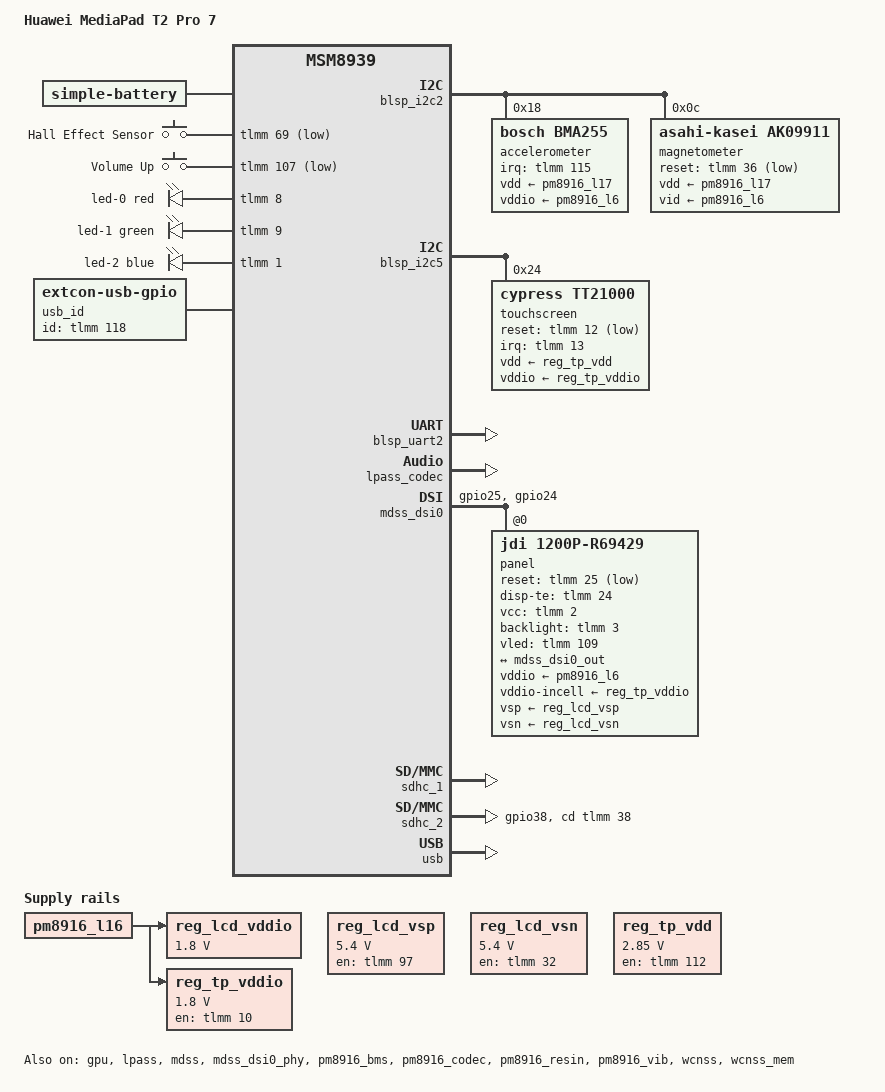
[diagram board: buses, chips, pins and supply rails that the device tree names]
// SPDX-License-Identifier: GPL-2.0-only

/dts-v1/;

#include "msm8939-pm8916.dtsi"

#include <dt-bindings/gpio/gpio.h>
#include <dt-bindings/input/input.h>
#include <dt-bindings/interrupt-controller/irq.h>
#include <dt-bindings/leds/common.h>
#include <dt-bindings/pinctrl/qcom,pmic-gpio.h>
#include <dt-bindings/sound/apq8016-lpass.h>
#include <dt-bindings/pinctrl/qcom,pmic-mpp.h>

/ {
	model = "Huawei MediaPad T2 Pro 7";
	compatible = "huawei,pele", "qcom,msm8939";
	chassis-type = "tablet";
	//qcom,msm-id = <239 0x30000 >;
	 /* qcom,board-id =	<8113 0> , <8113 4>;//701l
                  <8002 0> , <8002 4>, //701w
                    <8129 0> , <8129 4>, //702l
                    <8066 0> , <8066 4>, //703lt
                    <8096 0> , <8096 4>; //703l*/

	aliases {
		mmc0 = &sdhc_1; /* eMMC */
		mmc1 = &sdhc_2; /* SD card */
		serial0 = &blsp_uart2;
	};

	chosen {
		stdout-path = "serial0:115200n8";
	};

	reserved-memory {
		cont_splash_mem: framebuffer@83000000 {
			compatible = "removed-dma-pool";
			reg = <0x0 0x83000000 0x0 0x2000000>;
			no-map;
		};

		reserved@85000000 {
			reg = <0x0 0x85000000 0x0 0x1000000>;
			no-map;
		};

		reserved@84a00000 {
			reg = <0x0 0x84a00000 0x0 0x1600000>;
			no-map;
		};

		tz-hwlog@8c700000 {
			reg = <0x0 0x8c700000 0x0 0x400000>;
			no-map;
		};

		ramoops@8cb00000 {
			compatible = "ramoops";
			reg = <0x0 0x8cb00000 0x0 0x200000>;

			record-size = <0x10000>;
			console-size = <0x100000>;
			ftrace-size = <0>;
		};
	};

	battery: battery {
		compatible = "simple-battery";
		device-chemistry = "lithium-ion-polymer";
		voltage-min-design-microvolt = <3300000>;
		voltage-max-design-microvolt = <4350000>;
		energy-full-design-microwatt-hours = <16074000>;
		charge-full-design-microamp-hours = <4230000>;

		//precharge-current-microamp = <1300000>;
		//charge-term-current-microamp = <150000>;

		ocv-capacity-celsius = <25>;
		ocv-capacity-table-0 = <4330000 100>, <4265000 95>,
			<4208000 90>, <4153000 85>, <4100000 80>, <4049000 75>,
			<4001000 70>, <3962000 65>, <3919000 60>, <3872000 55>,
			<3839000 50>, <3817000 45>, <3798000 40>, <3783000 35>,
			<3767000 30>, <3747000 25>, <3729000 20>, <3709000 16>,
			<3688000 13>, <3681000 11>, <3680000 10>, <3679000 9>,
			<3677000 8>, <3674000 7>, <3666000 6>, <3641000 5>,
			<3597000 4>, <3537000 3>, <3457000 2>, <3336000 1>,
			<3000000 0>;
	};

	gpio-hall-sensor {
		compatible = "gpio-keys";

		pinctrl-0 = <&gpio_hall_sensor_default>;
		pinctrl-names = "default";

		label = "GPIO Hall Effect Sensor";

		event-hall-sensor {
			label = "Hall Effect Sensor";
			gpios = <&tlmm 69 GPIO_ACTIVE_LOW>;
			linux,input-type = <EV_SW>;
			linux,code = <SW_LID>;
			linux,can-disable;
		};
	};

	gpio-keys {
		compatible = "gpio-keys";

		pinctrl-0 = <&gpio_keys_default>;
		pinctrl-names = "default";

		label = "GPIO Keys";

		button-volume-up {
			label = "Volume Up";
			gpios = <&tlmm 107 GPIO_ACTIVE_LOW>;
			linux,code = <KEY_VOLUMEUP>;
		};
	};

	gpio-leds {
		compatible = "gpio-leds";

		pinctrl-0 = <&gpio_leds_default>;
		pinctrl-names = "default";

		led-0 {
			gpios = <&tlmm 8 GPIO_ACTIVE_HIGH>;
			color = <LED_COLOR_ID_RED>;
			default-state = "off";
			function = LED_FUNCTION_INDICATOR;
			retain-state-suspended;
		};

		led-1 {
			gpios = <&tlmm 9 GPIO_ACTIVE_HIGH>;
			color = <LED_COLOR_ID_GREEN>;
			default-state = "off";
			function = LED_FUNCTION_INDICATOR;
			retain-state-suspended;
		};

		led-2 {
			gpios = <&tlmm 1 GPIO_ACTIVE_HIGH>;
			color = <LED_COLOR_ID_BLUE>;
			default-state = "off";
			function = LED_FUNCTION_INDICATOR;
			retain-state-suspended;
		};
	};


	reg_lcd_vddio: regulator-lcd-vddio {
		compatible = "regulator-fixed";
		regulator-name = "vddio-incell";
		vin-supply = <&pm8916_l16>;
		regulator-min-microvolt = <1800000>;
		regulator-max-microvolt = <1800000>;
		regulator-always-on;
		regulator-boot-on;

		/*gpio = <&tlmm 10 GPIO_ACTIVE_HIGH>;
		enable-active-high;
		//startup-delay-us = <200000>; //delay 200
		pinctrl-names = "default";
		pinctrl-0 = <&tp_vddio_default>;*/
	};

	reg_lcd_vsp: regulator-lcd-vsp {
		compatible = "regulator-fixed";
		regulator-name = "vsp";
		regulator-min-microvolt = <5400000>;
		regulator-max-microvolt = <5400000>;
		regulator-always-on;
		regulator-boot-on; // allows fb console to show up briefly at boot without always-on
		//enable-active-high;

		gpio = <&tlmm 97 GPIO_ACTIVE_HIGH>;
		enable-active-high;
		startup-delay-us = <200000>; //delay 200
		pinctrl-names = "default";
		pinctrl-0 = <&lcd_vsp_default>;
	};

	reg_lcd_vsn: regulator-lcd-vsn {
		compatible = "regulator-fixed";
		regulator-name = "vsn";
		regulator-min-microvolt = <5400000>;
		regulator-max-microvolt = <5400000>;
		regulator-always-on;
		regulator-boot-on; // allows fb console to show up briefly at boot without always-on
		//enable-active-high;

		gpio = <&tlmm 32 GPIO_ACTIVE_HIGH>;
		//startup-delay-us = <200000>; //delay 200
		enable-active-high;
		pinctrl-names = "default";
		pinctrl-0 = <&lcd_vsn_default>;
	};

	/*lcd_pp3300: regulator-pp3300 {
		compatible = "regulator-fixed";
		regulator-name = "vcc_3v3";
		vin-supply = <&pm8916_l16>;
		regulator-min-microvolt = <3300000>;
		regulator-max-microvolt = <3300000>;
		regulator-always-on;
		regulator-boot-on;

		gpio = <&tlmm 97 GPIO_ACTIVE_HIGH>;
		enable-active-high;
		//startup-delay-us = <200000>; //delay 200
		pinctrl-names = "default";
		pinctrl-0 = <&lcd_3v3_default>;
	};*/

	reg_tp_vdd: regulator-tp-vdd {
		compatible = "regulator-fixed";
		regulator-name = "tp_vdd";
		regulator-min-microvolt = <2850000>;
		regulator-max-microvolt = <2850000>;
		regulator-always-on;
		regulator-boot-on; 

		gpio = <&tlmm 112 GPIO_ACTIVE_HIGH>;
		enable-active-high;
		//startup-delay-us = <200000>; //delay 200
		pinctrl-names = "default";
		pinctrl-0 = <&tp_vdd_default>;
	};

	reg_tp_vddio: regulator-tp-vddio {
		compatible = "regulator-fixed";
		regulator-name = "tp_vddio";
		vin-supply = <&pm8916_l16>;
		regulator-min-microvolt = <1800000>;
		regulator-max-microvolt = <1800000>;
		regulator-always-on;
		regulator-boot-on; 

		gpio = <&tlmm 10 GPIO_ACTIVE_HIGH>;
		enable-active-high;
		//startup-delay-us = <200000>; //delay 200
		pinctrl-names = "default";
		pinctrl-0 = <&tp_vddio_default>;
	};

	usb_id: usb-id {
		compatible = "linux,extcon-usb-gpio";
		id-gpio = <&tlmm 118 GPIO_ACTIVE_HIGH>;
		pinctrl-0 = <&usb_id_default>;
		pinctrl-names = "default";
	};
};

&blsp_i2c2 {
	status = "okay";

	accelerometer@18 {
		compatible = "bosch,bma255";
		reg = <0x18>;

		interrupt-parent = <&tlmm>;
		interrupts = <115 IRQ_TYPE_EDGE_RISING>;

		vdd-supply = <&pm8916_l17>;
		vddio-supply = <&pm8916_l6>;

		mount-matrix = "0", "1", "0",
			       "1", "0", "0",
			       "0", "0", "1";

		pinctrl-0 = <&accel_int_default>;
		pinctrl-names = "default";
	};

	magnetometer@c {
		compatible = "asahi-kasei,ak09911";
		reg = <0x0c>;
		vdd-supply = <&pm8916_l17>;
		vid-supply = <&pm8916_l6>;
		reset-gpios = <&tlmm 36 GPIO_ACTIVE_LOW>;
		pinctrl-0 = <&mag_reset_default>;
		pinctrl-names = "default";
	};

	/*proximity@1e {
		compatible = "ap3426";
		reg = <0x1e>;
	};*/
};

&blsp_i2c5 {
	status = "okay";

	touchscreen@24 {
		compatible = "cypress,tt21000";
		reg = <0x24>;

		interrupt-parent = <&tlmm>;
		interrupts = <13 IRQ_TYPE_EDGE_FALLING>;

		reset-gpios = <&tlmm 12 GPIO_ACTIVE_LOW>;

		vdd-supply = <&reg_tp_vdd>;
		vddio-supply = <&reg_tp_vddio>;

		pinctrl-0 = <&touchscreen_default>;
		pinctrl-1 = <&touchscreen_sleep>;
		pinctrl-names = "default","sleep";
	};
};

&blsp_uart2 {
	status = "okay";
};

&gpu {
	status = "okay";
};

&lpass {
	status = "okay";
};

&lpass_codec {
	status = "okay";
};

&mdss {
	status = "okay";
};

&mdss_dsi0 {
	pinctrl-0 = <&mdss_default &mdss_te_default>;
	pinctrl-1 = <&mdss_sleep &mdss_te_sleep>;
	pinctrl-names = "default", "sleep";
	status = "okay";
	vddio-supply = <&pm8916_l6>;

	panel@0 {
		reg = <0>;
		compatible = "jdi,1200p-r69429";

		reset-gpios = <&tlmm 25 GPIO_ACTIVE_LOW>;
		disp-te-gpios = <&tlmm 24 GPIO_ACTIVE_HIGH>;

		vddio-supply = <&pm8916_l6>;
		vddio-incell-supply = <&reg_tp_vddio>;
		vsp-supply = <&reg_lcd_vsp>;
		vsn-supply = <&reg_lcd_vsn>;
		vcc-gpios = <&tlmm 2 GPIO_ACTIVE_HIGH>;
		backlight-gpios = <&tlmm 3 GPIO_ACTIVE_HIGH>;
		vled-gpios = <&tlmm 109 GPIO_ACTIVE_HIGH>;


		port {
			panel_in: endpoint {
				remote-endpoint = <&mdss_dsi0_out>;
			};
		};
	};
};

&mdss_dsi0_out {
	data-lanes = <0 1 2 3>;
	remote-endpoint = <&panel_in>;
};

&mdss_dsi0_phy {
	qcom,dsi-phy-regulator-ldo-mode;
	status = "okay";
};

&pm8916_bms {
	status = "okay";

	monitored-battery = <&battery>;
};

&pm8916_codec {
	qcom,micbias-lvl = <2800>;
	qcom,mbhc-vthreshold-low = <75 150 237 450 500>;
	qcom,mbhc-vthreshold-high = <75 150 237 450 500>;
	qcom,hphl-jack-type-normally-open;
	status = "okay";
};

&pm8916_mpps {
	pinctrl-names = "default";
	pinctrl-0 = <&pm8916_mpp2_in &pm8916_mpp4_in>;

	pm8916_mpp2_in: pm8916-mpp2-in-state {
		pinconf {
			pins = "mpp2";
			function = "analog"; //input
			qcom,amux-route = <1>; //PMIC_MPP_AMUX_ROUTE_CH6
		};
	};

	pm8916_mpp4_in: pm8916-mpp4-in-state {
		pinconf {
			pins = "mpp4";
			function = "analog"; //input
			qcom,amux-route = <3>; //PMIC_MPP_AMUX_ROUTE_CH8
		};
	};

	/*mpp@a100 { //reference
		qcom,mode = <4>; // QPNP_PIN_MODE_AIN
		qcom,src-sel = <0>; // QPNP_PIN_SEL_FUNC_CONSTANT
		qcom,ain-route = <1>; // QPNP_PIN_AIN_AMUX_CH6
		qcom,master-en = <1>; // Enable features
	};

	mpp@a300 {
		qcom,mode = <4>; // QPNP_PIN_MODE_AIN
		qcom,src-sel = <0>; // QPNP_PIN_SEL_FUNC_CONSTANT
		qcom,ain-route = <3>; // QPNP_PIN_AIN_AMUX_CH8
		qcom,master-en = <1>; // Enable features
	};*/
};

&pm8916_resin {
	linux,code = <KEY_VOLUMEDOWN>;
	status = "okay";
};

&pm8916_rpm_regulators {
	pm8916_l6: l6 {
		regulator-min-microvolt = <1800000>;
		regulator-max-microvolt = <1800000>;
		regulator-always-on; 
		regulator-boot-on;
	};
	pm8916_l8: l8 {
		regulator-min-microvolt = <2950000>;
		regulator-max-microvolt = <2950000>;
	};
	pm8916_l16: l16 {
		regulator-min-microvolt = <1800000>;
		regulator-max-microvolt = <1800000>;
	};
	pm8916_l17: l17 {
		regulator-min-microvolt = <2850000>;
		regulator-max-microvolt = <2850000>;
		regulator-always-on; 
		regulator-boot-on;
	};
};

&pm8916_vadc {
	adc-chan@11 {
		label = "VADC_P_MUX2_1_1";
		reg = <0x11>;
		qcom,decimation = <512>;
		qcom,pre-scaling = <1 1>;
		qcom,hw-settle-time = <200>;
		qcom,avg-samples = <1>;
	};

	adc-chan@13 {
		label = "VADC_P_MUX4_1_1";
		reg = <0x13>;
		qcom,decimation = <512>;
		qcom,pre-scaling = <1 1>;
		qcom,hw-settle-time = <200>;
		qcom,avg-samples = <1>;
	};

	adc-chan@36 {
		label = "VADC_LR_MUX7_HW_ID";
		reg = <0x36>;
		//qcom,decimation = <0>; wrong decimation?
		qcom,ratiometric;
		qcom,hw-settle-time = <200>;
		qcom,avg-samples = <1>;
	};
};

&pm8916_vib {
	status = "okay";
};

&sdhc_1 {
	status = "okay";
};

&sdhc_2 {
	pinctrl-0 = <&sdc2_default &sdc2_cd_default>;
	pinctrl-1 = <&sdc2_sleep &sdc2_cd_default>;
	pinctrl-names = "default", "sleep";

	cd-gpios = <&tlmm 38 GPIO_ACTIVE_HIGH>;

	status = "okay";
};

&sound {
	model = "msm8916";
	audio-routing = "RX_BIAS", "MCLK",
		"SPK PA",  "MCLK",
		"INT_LDO_H",  "MCLK",
		"MIC BIAS Internal3", "MIC_BIAS2",
		"AMIC1", "MIC BIAS Internal1",
		"AMIC2", "MIC BIAS Internal2",
		"AMIC3", "MIC BIAS Internal3";

	pinctrl-0 = <&cdc_pdm_default>;
	pinctrl-1 = <&cdc_pdm_sleep>;
	pinctrl-names = "default", "sleep";

	status = "okay";

	dai-link-primary {
		link-name = "Primary MI2S";
		cpu {
			sound-dai = <&lpass MI2S_PRIMARY>;
		};
		codec {
			sound-dai = <&lpass_codec 0>, <&pm8916_codec 0>;
		};
	};

	dai-link-tertiary {
		link-name = "Tertiary MI2S";
		cpu {
			sound-dai = <&lpass MI2S_TERTIARY>;
		};
		codec {
			sound-dai = <&lpass_codec 1>, <&pm8916_codec 1>;
		};
	};
};

&usb {
	extcon = <&usb_id>, <&usb_id>;
	status = "okay";
	//extcon = <&bq24296>, <&usb_id>;
	//vbus-supply = <&usb_otg_vbus>;
};

&usb_hs_phy {
	extcon = <&usb_id>;
	//extcon = <&bq24296>;
};

&wcnss {
	status = "okay";
};

&wcnss_iris {
	compatible = "qcom,wcn3620";
};

&wcnss_mem {
	status = "okay";
};

&tlmm {
	accel_int_default: accel-int-default-state {
		pins = "gpio115";
		function = "gpio";
		drive-strength = <2>;
		bias-disable;
	};

	gpio_hall_sensor_default: gpio-hall-sensor-default-state {
		pins = "gpio69";
		function = "gpio";
		drive-strength = <2>;
		bias-disable;
	};

	gpio_keys_default: gpio-keys-default-state {
		pins = "gpio107";
		function = "gpio";
		drive-strength = <2>;
		bias-pull-up;
	};

	gpio_leds_default: gpio-leds-default-state {
		pins = "gpio8", "gpio9", "gpio1";
		function = "gpio";
		drive-strength = <2>;
		bias-disable;
	};

	lcd_vsp_default: lcd-vsp-default-state {
		pins = "gpio97";
		function = "gpio";
		drive-strength = <2>;
		bias-disable;
	};

	lcd_vsn_default: lcd-vsn-default-state {
		pins = "gpio32";
		function = "gpio";
		drive-strength = <2>;
		bias-disable;
	};

	mag_reset_default: mag-reset-default-state {
		pins = "gpio36";
		function = "gpio";
		drive-strength = <2>;
		bias-disable;
	};

	mdss_default: mdss-default-state {
		pins = "gpio25";
		function = "gpio";
		drive-strength = <8>;
		bias-disable;
	};

	mdss_sleep: mdss-sleep-state {
		pins = "gpio25";
		function = "gpio";
		drive-strength = <2>;
		bias-pull-down;
	};

	mdss_te_default: mdss-te-default-state {
		pins = "gpio24";
		//function = "gpio";
		function = "mdp_vsync";
		drive-strength = <2>;
		bias-pull-disable;
	};

	mdss_te_sleep: mdss-te-sleep-state {
		pins = "gpio24";
		//function = "gpio";
		function = "mdp_vsync";
		drive-strength = <2>;
		bias-pull-down;
	};

	sdc2_cd_default: sdc2-cd-default-state {
		pins = "gpio38";
		function = "gpio";
		drive-strength = <2>;
		bias-disable;
	};

	prox_irq_default: prox-irq-default-state {
		pins = "gpio113";
		function = "gpio";

		drive-strength = <2>;
		bias-disable;
	};

	touchscreen_default: touchscreen-default-state {
		pins = "gpio12", "gpio13";
		function = "gpio";

		drive-strength = <2>;
		bias-disable;
	};

	touchscreen_sleep: touchscreen-sleep-state {
		pins = "gpio12", "gpio13";
		function = "gpio";
		drive-strength = <6>;
		bias-pull-up;
	};

	tp_vdd_default: reg-tp-vdd-default-state {
		pins = "gpio112";
		function = "gpio";
		drive-strength = <2>;
		bias-pull-up;
	};

	tp_vddio_default: reg-tp-vddio-default-state {
		pins = "gpio10";
		function = "gpio";
		drive-strength = <2>;
		bias-pull-up;
	};

	usb_id_default: usb-id-default-state {
		pins = "gpio118";
		function = "gpio";
		drive-strength = <8>;
		bias-pull-up;
	};

    /*otg {
        gpio-hog;
        gpios = <108 GPIO_ACTIVE_HIGH>;
        output-high;
        line-name = "otg-gpio";
    };*/
};
